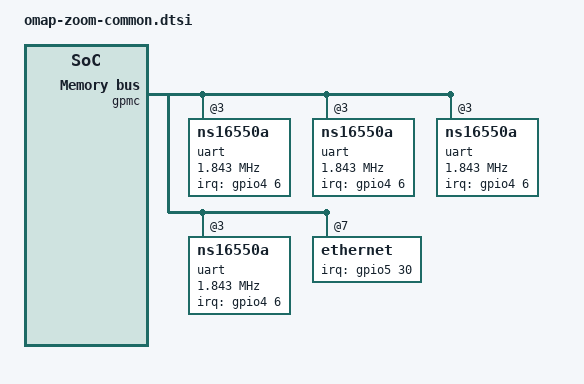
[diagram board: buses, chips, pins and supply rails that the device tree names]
/*
 * Common features on the Zoom debug board
 */

#include "omap-gpmc-smsc911x.dtsi"

&gpmc {
	ranges = <3 0 0x10000000 0x1000000>,	/* CS3: 16MB for UART */
		 <7 0 0x2c000000 0x01000000>;

	/*
	 * Four port TL16CP754C serial port on GPMC,
	 * they probably share the same GPIO IRQ
	 * REVISIT: Add timing support from slls644g.pdf
	 */
	uart@3,0 {
		compatible = "ns16550a";
		reg = <3 0 8>;	/* CS3, offset 0, IO size 8 */
		bank-width = <2>;
		reg-shift = <1>;
		reg-io-width = <1>;
		interrupt-parent = <&gpio4>;
		interrupts = <6 IRQ_TYPE_EDGE_RISING>;	/* gpio102 */
		clock-frequency = <1843200>;
		current-speed = <115200>;
		gpmc,mux-add-data = <0>;
		gpmc,device-width = <1>;
		gpmc,wait-pin = <1>;
		gpmc,cycle2cycle-samecsen = <1>;
		gpmc,cycle2cycle-diffcsen = <1>;
		gpmc,cs-on-ns = <5>;
		gpmc,cs-rd-off-ns = <155>;
		gpmc,cs-wr-off-ns = <155>;
		gpmc,adv-on-ns = <15>;
		gpmc,adv-rd-off-ns = <40>;
		gpmc,adv-wr-off-ns = <40>;
		gpmc,oe-on-ns = <45>;
		gpmc,oe-off-ns = <145>;
		gpmc,we-on-ns = <45>;
		gpmc,we-off-ns = <145>;
		gpmc,rd-cycle-ns = <155>;
		gpmc,wr-cycle-ns = <155>;
		gpmc,access-ns = <145>;
		gpmc,page-burst-access-ns = <20>;
		gpmc,bus-turnaround-ns = <20>;
		gpmc,cycle2cycle-delay-ns = <20>;
		gpmc,wait-monitoring-ns = <0>;
		gpmc,clk-activation-ns = <0>;
		gpmc,wr-data-mux-bus-ns = <45>;
		gpmc,wr-access-ns = <145>;
	};
	uart@3,1 {
		compatible = "ns16550a";
		reg = <3 0x100 8>;	/* CS3, offset 0x100, IO size 8 */
		bank-width = <2>;
		reg-shift = <1>;
		reg-io-width = <1>;
		interrupt-parent = <&gpio4>;
		interrupts = <6 IRQ_TYPE_EDGE_RISING>;	/* gpio102 */
		clock-frequency = <1843200>;
		current-speed = <115200>;
	};
	uart@3,2 {
		compatible = "ns16550a";
		reg = <3 0x200 8>;	/* CS3, offset 0x200, IO size 8 */
		bank-width = <2>;
		reg-shift = <1>;
		reg-io-width = <1>;
		interrupt-parent = <&gpio4>;
		interrupts = <6 IRQ_TYPE_EDGE_RISING>;	/* gpio102 */
		clock-frequency = <1843200>;
		current-speed = <115200>;
	};
	uart@3,3 {
		compatible = "ns16550a";
		reg = <3 0x300 8>;	/* CS3, offset 0x300, IO size 8 */
		bank-width = <2>;
		reg-shift = <1>;
		reg-io-width = <1>;
		interrupt-parent = <&gpio4>;
		interrupts = <6 IRQ_TYPE_EDGE_RISING>;	/* gpio102 */
		clock-frequency = <1843200>;
		current-speed = <115200>;
	};

	ethernet@gpmc {
		reg = <7 0 0xff>;
		interrupt-parent = <&gpio5>;
		interrupts = <30 IRQ_TYPE_LEVEL_LOW>;	/* gpio158 */
	};
};
